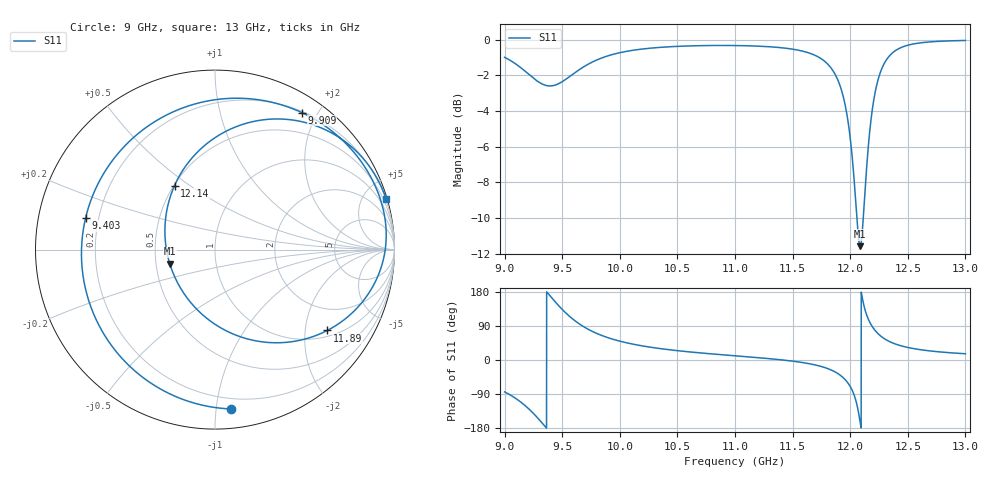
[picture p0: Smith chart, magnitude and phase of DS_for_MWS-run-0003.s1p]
! TOUCHSTONE file generated by CST DESIGN STUDIO
! Date and time: Tue Feb  4 18:29:37 2025
! Project name: C:\Work\MatlabApps\UnitCellOptimizationMatlab\CST\unitcell.cst
! Tree item: Tasks\Sweep1\SPara1\S-Parameters
! Header version: 2024
! Port assignment regex: !\s*Touchstone port\s*([0-9]+)\s*=\s*(CST MWS port|CST DES external port|CST DES block port)\s*(.+)\s* \(\"(.*)\"\)(\s*mode\s*([0-9]+))?.*
! Touchstone port assignment:
! Touchstone port 1 = CST DES external port 1 ("")
# GHz S MA R 50
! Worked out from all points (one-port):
!   4001 points, 9 GHz to 13 GHz, reference 50 ohm
!   lowest |S11| = -11.6 dB at 12.09 GHz (marker M1), VSWR 1.72, Z = 29.6 - j4.97 ohm
!   |S11| at or under -10 dB: 12.05822 GHz to 12.11335 GHz (55.13 MHz wide, 0.456 % of centre)
!   S11 on the Smith chart (normalised r, x): 9 GHz: 0.13, -1.10; 9.403 GHz: 0.15, +0.12; 9.909 GHz: 0.22, +1.80; 11.89 GHz: 1.18, -2.62; 12.14 GHz: 0.50, +0.44; 13 GHz: 0.12, +6.92
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9  0.8925 -84.1
9.106  0.8509 -103.4
9.196  0.8069 -125.2
9.308  0.7568 -160.0
9.403  0.7422 166.2
9.5  0.7628 133.5
9.578  0.7941 111.5
9.664  0.8306 92.1
9.783  0.8724 72.4
9.909  0.9036 57.7
10  0.9195 49.7
10.216  0.9432 36.2
10.5  0.9579 24.6
11  0.963 11.1
11.5  0.9407 -3.0
11.747  0.885 -16.9
11.893  0.7708 -35.8
11.947  0.6774 -48.9
12  0.531 -69.8
12.043  0.3708 -100.5
12.086  0.264 -162.8
12.112  0.3116 153.2
12.139  0.422 122.3
12.189  0.6271 89.5
12.245  0.7789 68.5
12.352  0.909 47.1
12.5  0.9649 33.1
13  0.9951 16.5
